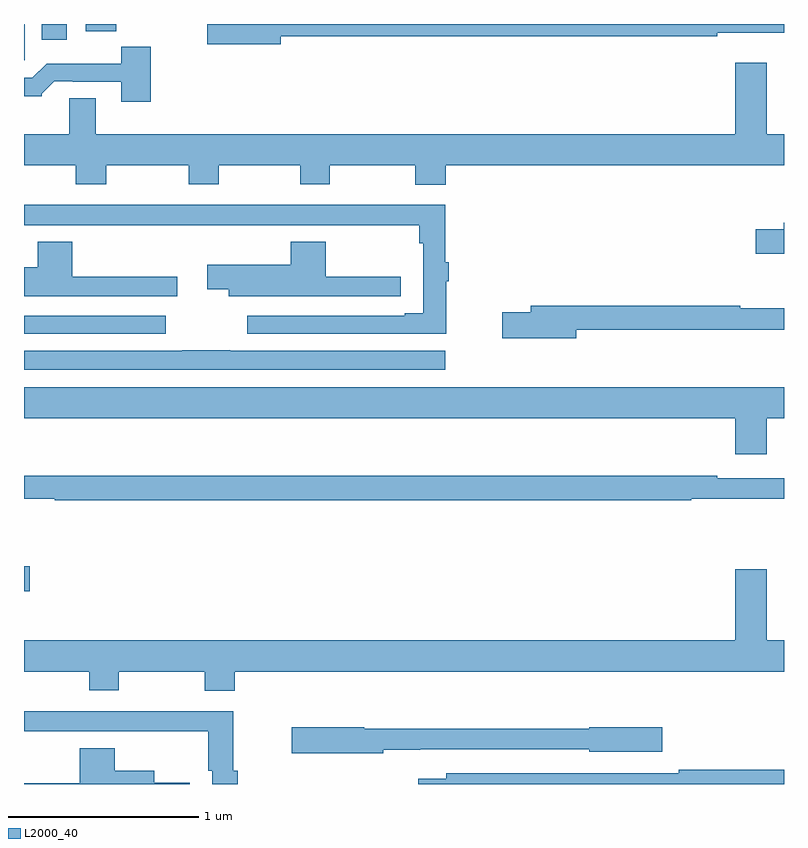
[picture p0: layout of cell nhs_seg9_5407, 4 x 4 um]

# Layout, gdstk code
import gdstk
lib = gdstk.Library(unit=1e-6, precision=1e-09)
def R(c, l, rs):  # rectangles x0, y0, x1, y1
    for r in rs: c.add(gdstk.rectangle(r[:2], r[2:], *l))
def P(c, l, *ps):  # polygons
    for p in ps: c.add(gdstk.Polygon(p, *l))
L2000_40 = (2000, 40)

nhs_seg9_5407 = lib.new_cell('nhs_seg9_5407')
R(nhs_seg9_5407, L2000_40, [(425,1191.515,425.029,1191.645), (425,1192.869,425.746,1192.965), (425,1194.309,425.005,1194.5), (425.093,1194.417,425.224,1194.5), (425.324,1194.461,425.486,1194.5)])
P(nhs_seg9_5407, L2000_40, [(426.352,1194.436),(428.648,1194.436),(428.648,1194.455),(429,1194.455),(429,1194.5),(425.964,1194.5),(425.964,1194.394),(426.352,1194.394)],
  [(425.666,1194.379),(425.511,1194.379),(425.511,1194.292),(425.119,1194.292),(425.043,1194.216),(425,1194.216),(425,1194.119),(425.094,1194.119),(425.094,1194.134),(425.158,1194.198),(425.257,1194.198),(425.257,1194.195),(425.513,1194.195),(425.513,1194.09),(425.666,1194.09)],
  [(427.22,1193.756),(429,1193.756),(429,1193.92),(428.908,1193.92),(428.908,1194.295),(428.744,1194.295),(428.744,1193.92),(425.377,1193.92),(425.377,1194.11),(425.237,1194.11),(425.237,1193.92),(425,1193.92),(425,1193.756),(425.273,1193.756),(425.273,1193.657),(425.433,1193.657),(425.433,1193.756),(425.866,1193.756),(425.866,1193.657),(426.024,1193.657),(426.024,1193.756),(426.454,1193.756),(426.454,1193.657),(426.609,1193.657),(426.609,1193.756),(427.06,1193.756),(427.06,1193.654),(427.22,1193.654)],
  [(427.222,1193.147),(427.235,1193.147),(427.235,1193.247),(427.217,1193.247),(427.217,1193.548),(425,1193.548),(425,1193.441),(427.081,1193.441),(427.081,1193.345),(427.1,1193.345),(427.1,1192.978),(427.004,1192.978),(427.004,1192.965),(426.174,1192.965),(426.174,1192.869),(427.222,1192.869)],
  [(429,1193.455),(428.999,1193.455),(428.999,1193.421),(428.85,1193.421),(428.85,1193.291),(429,1193.291)],
  [(426.982,1193.17),(426.587,1193.17),(426.587,1193.353),(426.404,1193.353),(426.404,1193.233),(425.964,1193.233),(425.964,1193.104),(426.077,1193.104),(426.077,1193.066),(426.982,1193.066)],
  [(425.806,1193.17),(425.255,1193.17),(425.255,1193.353),(425.072,1193.353),(425.072,1193.221),(425,1193.221),(425,1193.066),(425.806,1193.066)],
  [(427.906,1192.89),(429,1192.89),(429,1193.003),(428.771,1193.003),(428.771,1193.018),(427.667,1193.018),(427.667,1192.982),(427.518,1192.982),(427.518,1192.847),(427.906,1192.847)],
  [(427.216,1192.78),(426.086,1192.78),(426.086,1192.783),(425.833,1192.783),(425.833,1192.78),(425,1192.78),(425,1192.679),(427.216,1192.679)],
  [(428.908,1192.424),(429,1192.424),(429,1192.588),(425,1192.588),(425,1192.424),(428.744,1192.424),(428.744,1192.236),(428.908,1192.236)],
  [(428.512,1192.002),(429,1192.002),(429,1192.11),(428.648,1192.11),(428.648,1192.123),(425,1192.123),(425,1192.002),(425.162,1192.002),(425.162,1191.994),(428.512,1191.994)],
  [(426.11,1191.092),(429,1191.092),(429,1191.256),(428.908,1191.256),(428.908,1191.631),(428.744,1191.631),(428.744,1191.256),(425,1191.256),(425,1191.092),(425.344,1191.092),(425.344,1190.993),(425.499,1190.993),(425.499,1191.092),(425.95,1191.092),(425.95,1190.99),(426.11,1190.99)],
  [(426.125,1190.571),(426.1,1190.571),(426.1,1190.884),(425,1190.884),(425,1190.777),(425.971,1190.777),(425.971,1190.571),(425.991,1190.571),(425.991,1190.5),(426.125,1190.5)],
  [(426.892,1190.681),(427.086,1190.681),(427.086,1190.682),(427.974,1190.682),(427.974,1190.669),(428.359,1190.669),(428.359,1190.799),(427.974,1190.799),(427.974,1190.791),(426.792,1190.791),(426.792,1190.799),(426.408,1190.799),(426.408,1190.662),(426.892,1190.662)],
  [(425.872,1190.506),(425.686,1190.506),(425.686,1190.569),(425.477,1190.569),(425.477,1190.689),(425.294,1190.689),(425.294,1190.504),(425,1190.504),(425,1190.5),(425.872,1190.5)],
  [(429,1190.576),(428.446,1190.576),(428.446,1190.556),(427.223,1190.556),(427.223,1190.527),(427.074,1190.527),(427.074,1190.5),(429,1190.5)])

lib.write_gds('nhs_seg9_5407.gds')
